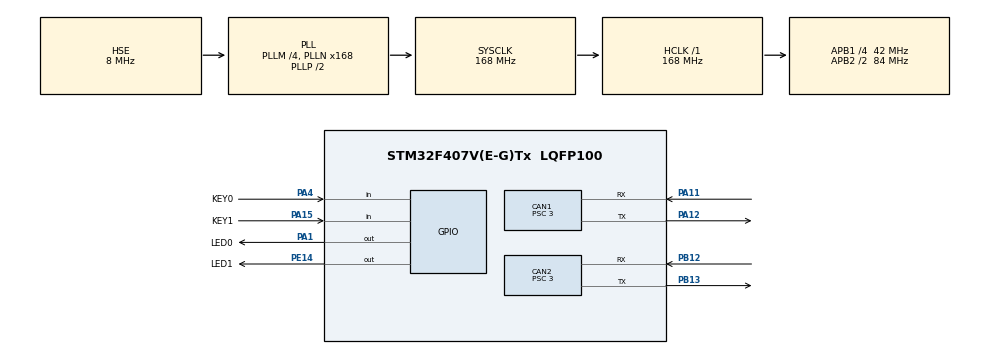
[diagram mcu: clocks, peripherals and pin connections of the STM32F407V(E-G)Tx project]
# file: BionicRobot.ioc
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CAN1.ABOM=ENABLE
CAN1.BS1=CAN_BS1_9TQ
CAN1.BS2=CAN_BS2_4TQ
CAN1.CalculateBaudRate=1000000
CAN1.CalculateTimeBit=1000
CAN1.CalculateTimeQuantum=71.42857142857143
CAN1.Prescaler=3
CAN2.ABOM=ENABLE
CAN2.BS1=CAN_BS1_9TQ
CAN2.BS2=CAN_BS2_4TQ
CAN2.CalculateBaudRate=1000000
CAN2.CalculateTimeBit=1000
CAN2.CalculateTimeQuantum=71.42857142857143
CAN2.Prescaler=3
Mcu.Family=STM32F4
Mcu.Name=STM32F407V(E-G)Tx
Mcu.Package=LQFP100
NVIC.CAN1_RX0_IRQn=true\:0\:0\:false\:false\:true\:true\:true
NVIC.CAN1_TX_IRQn=true\:0\:0\:false\:false\:true\:true\:true
NVIC.CAN2_RX0_IRQn=true\:0\:0\:false\:false\:true\:true\:true
NVIC.CAN2_TX_IRQn=true\:0\:0\:false\:false\:true\:true\:true
NVIC.PriorityGroup=NVIC_PRIORITYGROUP_4
PA1.GPIO_Label=LED0
PA1.GPIO_ModeDefaultOutputPP=GPIO_MODE_OUTPUT_PP
PA1.GPIO_Speed=GPIO_SPEED_FREQ_VERY_HIGH
PA1.PinState=GPIO_PIN_SET
PA1.Signal=GPIO_Output
PA11.Mode=CAN_Activate
PA11.Signal=CAN1_RX
PA12.Mode=CAN_Activate
PA12.Signal=CAN1_TX
PA13.Mode=Serial_Wire
PA13.Signal=SYS_JTMS-SWDIO
PA14.Mode=Serial_Wire
PA14.Signal=SYS_JTCK-SWCLK
PA15.GPIO_Label=KEY1
PA15.GPIO_PuPd=GPIO_PULLUP
PA15.Signal=GPIO_Input
PA4.GPIO_Label=KEY0
PA4.GPIO_PuPd=GPIO_PULLUP
PA4.Signal=GPIO_Input
PB12.Mode=CAN_Activate
PB12.Signal=CAN2_RX
PB13.Mode=CAN_Activate
PB13.Signal=CAN2_TX
PE14.GPIO_Label=LED1
PE14.GPIO_Speed=GPIO_SPEED_FREQ_VERY_HIGH
PE14.PinState=GPIO_PIN_SET
PE14.Signal=GPIO_Output
PH0-OSC_IN.Mode=HSE-External-Oscillator
PH0-OSC_IN.Signal=RCC_OSC_IN
PH1-OSC_OUT.Mode=HSE-External-Oscillator
PH1-OSC_OUT.Signal=RCC_OSC_OUT
ProjectManager.HeapSize=0x200
ProjectManager.StackSize=0x400
ProjectManager.TargetToolchain=STM32CubeIDE
RCC.48MHZClocksFreq_Value=48000000
RCC.AHBFreq_Value=168000000
RCC.APB1CLKDivider=RCC_HCLK_DIV4
RCC.APB1Freq_Value=42000000
RCC.APB1TimFreq_Value=84000000
RCC.APB2CLKDivider=RCC_HCLK_DIV2
RCC.APB2Freq_Value=84000000
RCC.APB2TimFreq_Value=168000000
RCC.CortexFreq_Value=168000000
RCC.HCLKFreq_Value=168000000
RCC.HSE_VALUE=8000000
RCC.HSI_VALUE=16000000
RCC.LSE_VALUE=32768
RCC.PLLM=4
RCC.PLLN=168
RCC.PLLQ=7
RCC.PLLSourceVirtual=RCC_PLLSOURCE_HSE
RCC.SYSCLKFreq_VALUE=168000000
RCC.SYSCLKSource=RCC_SYSCLKSOURCE_PLLCLK
RCC.VCOOutputFreq_Value=336000000
VP_RNG_VS_RNG.Mode=RNG_Activate
board=custom

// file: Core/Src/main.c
/* USER CODE BEGIN Header */
/**
  ******************************************************************************
  * @author  		金鼎承
  * @version		V1.1.4
  * @date     		2022/2/6
  * @file           main.c
  * @brief          Main program body
  ******************************************************************************
  * @attention
  *
  * Copyright (c) 2022 STMicroelectronics.
  * All rights reserved.
  *
  * This software is licensed under terms that can be found in the LICENSE file
  * in the root directory of this software component.
  * If no LICENSE file comes with this software, it is provided AS-IS.
  *
  ******************************************************************************
  */
/* USER CODE END Header */
#include "main.h"
#include "can.h"
#include "rng.h"
#include "gpio.h"

/* USER CODE BEGIN Includes */
#include "bsp_can.h"
#include "pid.h"
/* USER CODE END Includes */

/* USER CODE BEGIN PD */
#define MOTOR_NUM 6                                                           //要PID控制的电机数
/* USER CODE END PD */

/* USER CODE BEGIN PM */
PID_TypeDef motor_pid[MOTOR_NUM];                                             //电机PID数组
/* USER CODE END PM */

/* USER CODE BEGIN PV */
static float set_spd[MOTOR_NUM];                                              //目标速度
/* USER CODE END PV */

void SystemClock_Config(void);

int main(void)
{

  /* MCU Configuration--------------------------------------------------------*/

  /* Reset of all peripherals, Initializes the Flash interface and the Systick. */
  HAL_Init();

  /* Configure the system clock */
  SystemClock_Config();

  /* Initialize all configured peripherals */
  MX_GPIO_Init();
  MX_CAN1_Init();
  MX_CAN2_Init();
  MX_RNG_Init();
  /* USER CODE BEGIN 2 */
    CANFilterCfg_Scale16_IdMask_ReceiveALL(&hcan1);                                //初始化CAN1
    CANFilterCfg_Scale16_IdMask_ReceiveALL(&hcan2);                                //初始化CAN2

    static uint8_t i = 0;
    for (i = 0; i < MOTOR_NUM; i++) {
        set_spd[i] = 8000;
    }

    for (i = 0; i < MOTOR_NUM; i++) {                                            //初始化PID参数
        pid_struct_init(&motor_pid[i], Position_PID, 10000,
                        5000, 10, 8000, 1.5f, 0.1f, 0.0f);
        motor_pid[i].f_param_init(&motor_pid[i], Position_PID, 10000, 5000, 10, 8000, 1.5f, 0.1f, 0.0f);
    }
  /* USER CODE END 2 */

  /* Infinite loop */
  /* USER CODE BEGIN WHILE */
    while (1) {
        for (i = 0; i < MOTOR_NUM; i++) {
            motor_pid[i].f_pid_calculate(&motor_pid[i], moto_chassis[i].speed_rpm, set_spd[i]);
        }
        set_motor_current(&hcan1, 0x200, (int16_t) motor_pid[0].position_out,
                          (int16_t) motor_pid[1].position_out, (int16_t) motor_pid[2].position_out,
                          (int16_t) motor_pid[3].position_out);
        set_motor_current(&hcan2, 0x1FF, (int16_t) motor_pid[4].position_out,
                          (int16_t) motor_pid[5].position_out, 0, 0);
        HAL_Delay(10);
    /* USER CODE END WHILE */

    }
}

void SystemClock_Config(void)
{
  RCC_OscInitTypeDef RCC_OscInitStruct = {0};
  RCC_ClkInitTypeDef RCC_ClkInitStruct = {0};

  /** Configure the main internal regulator output voltage
  */
  __HAL_RCC_PWR_CLK_ENABLE();
  __HAL_PWR_VOLTAGESCALING_CONFIG(PWR_REGULATOR_VOLTAGE_SCALE1);
  /** Initializes the RCC Oscillators according to the specified parameters
  * in the RCC_OscInitTypeDef structure.
  */
  RCC_OscInitStruct.OscillatorType = RCC_OSCILLATORTYPE_HSE;
  RCC_OscInitStruct.HSEState = RCC_HSE_ON;
  RCC_OscInitStruct.PLL.PLLState = RCC_PLL_ON;
  RCC_OscInitStruct.PLL.PLLSource = RCC_PLLSOURCE_HSE;
  RCC_OscInitStruct.PLL.PLLM = 4;
  RCC_OscInitStruct.PLL.PLLN = 168;
  RCC_OscInitStruct.PLL.PLLP = RCC_PLLP_DIV2;
  RCC_OscInitStruct.PLL.PLLQ = 7;
  if (HAL_RCC_OscConfig(&RCC_OscInitStruct) != HAL_OK)
  {
    Error_Handler();
  }
  /** Initializes the CPU, AHB and APB buses clocks
  */
  RCC_ClkInitStruct.ClockType = RCC_CLOCKTYPE_HCLK|RCC_CLOCKTYPE_SYSCLK
                              |RCC_CLOCKTYPE_PCLK1|RCC_CLOCKTYPE_PCLK2;
  RCC_ClkInitStruct.SYSCLKSource = RCC_SYSCLKSOURCE_PLLCLK;
  RCC_ClkInitStruct.AHBCLKDivider = RCC_SYSCLK_DIV1;
  RCC_ClkInitStruct.APB1CLKDivider = RCC_HCLK_DIV4;
  RCC_ClkInitStruct.APB2CLKDivider = RCC_HCLK_DIV2;

  if (HAL_RCC_ClockConfig(&RCC_ClkInitStruct, FLASH_LATENCY_5) != HAL_OK)
  {
    Error_Handler();
  }
}

void Error_Handler(void)
{
  /* USER CODE BEGIN Error_Handler_Debug */
    /* User can add his own implementation to report the HAL error return state */
    __disable_irq();
    while (1) {
        HAL_GPIO_TogglePin(LED0_GPIO_Port, LED0_Pin);
        HAL_Delay(500);
    }
  /* USER CODE END Error_Handler_Debug */
}
